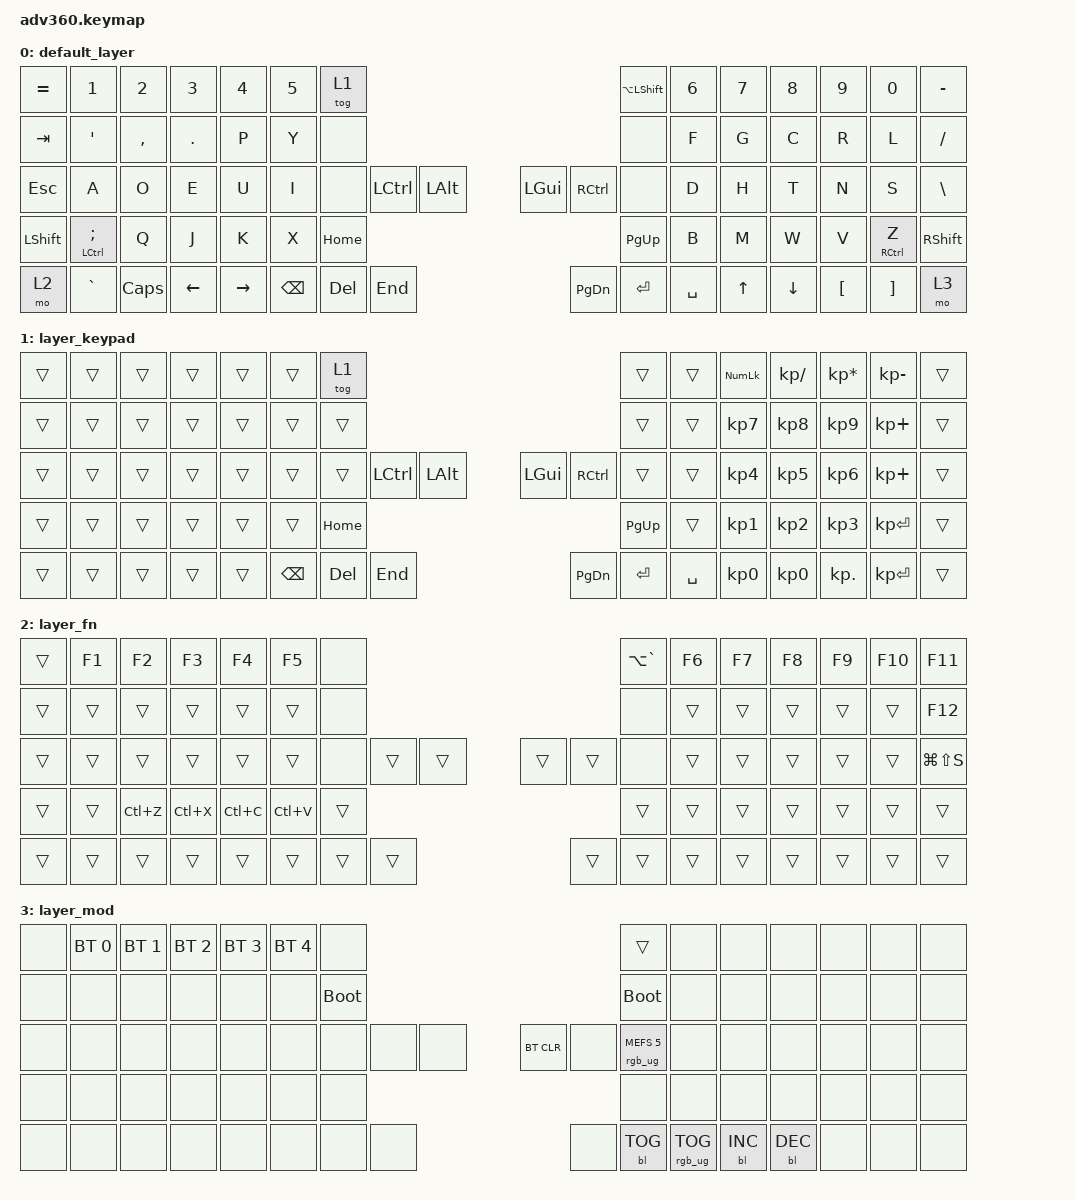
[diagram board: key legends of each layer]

/*
 * Copyright (c) 2020 The ZMK Contributors
 *
 * SPDX-License-Identifier: MIT
 */


/* THIS FILE WAS GENERATED!
 *
 * This file was generated automatically. You may or may not want to
 * edit it directly.
 */

#include <behaviors.dtsi>
#include <dt-bindings/zmk/keys.h>
#include <dt-bindings/zmk/bt.h>
#include <dt-bindings/zmk/rgb.h>
#include <dt-bindings/zmk/backlight.h>

/ {
  behaviors {
    #include "macros.dtsi"

    hm: homerow_mods {
        compatible = "zmk,behavior-hold-tap";
        label = "HOMEROW_MODS";
        #binding-cells = <2>;
        tapping-term-ms = <200>;
        quick_tap_ms = <175>;
        flavor = "tap-preferred";
        bindings = <&kp>, <&kp>;
    };
  };

    keymap {
        compatible = "zmk,keymap";


        default_layer {
            bindings = <
 &kp EQUAL               &kp N1     &kp N2      &kp N3     &kp N4  &kp N5              &tog 1                                                             &kp LA(LSHFT)  &kp N6  &kp N7    &kp N8    &kp N9       &kp N0  &kp MINUS
   &kp TAB             &kp APOS  &kp COMMA  &kp PERIOD      &kp P   &kp Y               &none                                                                     &none   &kp F   &kp G     &kp C     &kp R        &kp L   &kp FSLH
   &kp ESC                &kp A      &kp O       &kp E      &kp U   &kp I               &none  &kp LCTRL  &kp LALT                   &kp LGUI  &kp RCTRL          &none   &kp D   &kp H     &kp T     &kp N        &kp S   &kp BSLH
 &kp LSHFT  &mt LCTRL SEMICOLON      &kp Q       &kp J      &kp K   &kp X                                 &kp HOME                  &kp PG_UP                             &kp B   &kp M     &kp W     &kp V  &mt RCTRL Z  &kp RSHFT
     &mo 2            &kp GRAVE   &kp CAPS    &kp LEFT  &kp RIGHT                    &kp BSPC    &kp DEL   &kp END                  &kp PG_DN  &kp ENTER      &kp SPACE          &kp UP  &kp DOWN  &kp LBKT     &kp RBKT      &mo 3
            >;
        };

        layer_keypad {
            bindings = <
 &trans  &trans  &trans  &trans  &trans  &trans              &tog 1                                                                &trans  &trans  &kp KP_NUM  &kp KP_DIVIDE  &kp KP_MULTIPLY  &kp KP_MINUS  &trans
 &trans  &trans  &trans  &trans  &trans  &trans              &trans                                                                &trans  &trans   &kp KP_N7      &kp KP_N8        &kp KP_N9   &kp KP_PLUS  &trans
 &trans  &trans  &trans  &trans  &trans  &trans              &trans  &kp LCTRL  &kp LALT                   &kp LGUI  &kp RCTRL     &trans  &trans   &kp KP_N4      &kp KP_N5        &kp KP_N6   &kp KP_PLUS  &trans
 &trans  &trans  &trans  &trans  &trans  &trans                                 &kp HOME                  &kp PG_UP                        &trans   &kp KP_N1      &kp KP_N2        &kp KP_N3  &kp KP_ENTER  &trans
 &trans  &trans  &trans  &trans  &trans                    &kp BSPC    &kp DEL   &kp END                  &kp PG_DN  &kp ENTER  &kp SPACE           &kp KP_N0      &kp KP_N0       &kp KP_DOT  &kp KP_ENTER  &trans
            >;
        };

        layer_fn {
            bindings = <
 &trans  &kp F1     &kp F2     &kp F3     &kp F4     &kp F5             &none                                                  &kp LA(GRAVE)  &kp F6  &kp F7  &kp F8  &kp F9  &kp F10        &kp F11
 &trans  &trans     &trans     &trans     &trans     &trans             &none                                                          &none  &trans  &trans  &trans  &trans   &trans        &kp F12
 &trans  &trans     &trans     &trans     &trans     &trans             &none  &trans  &trans                  &trans  &trans          &none  &trans  &trans  &trans  &trans   &trans  &kp LG(LS(S))
 &trans  &trans  &kp LC(Z)  &kp LC(X)  &kp LC(C)  &kp LC(V)                            &trans                  &trans                         &trans  &trans  &trans  &trans   &trans         &trans
 &trans  &trans     &trans     &trans     &trans                       &trans  &trans  &trans                  &trans  &trans         &trans          &trans  &trans  &trans   &trans         &trans
            >;
        };

        layer_mod {
            bindings = <
  &none  &bt BT_SEL 0  &bt BT_SEL 1  &bt BT_SEL 2  &bt BT_SEL 3  &bt BT_SEL 4                  &none                                                                          &trans   &none       &none       &none   &none   &none   &none
  &none         &none         &none         &none         &none         &none            &bootloader                                                                     &bootloader   &none       &none       &none   &none   &none   &none
  &none         &none         &none         &none         &none         &none                  &none   &none   &none                  &bt BT_CLR       &none  &rgb_ug RGB_MEFS_CMD 5   &none       &none       &none   &none   &none   &none
  &none         &none         &none         &none         &none         &none                                  &none                       &none                                       &none       &none       &none   &none   &none   &none
  &none         &none         &none         &none         &none                                &none   &none   &none                       &none  &bl BL_TOG         &rgb_ug RGB_TOG          &bl BL_INC  &bl BL_DEC   &none   &none   &none
            >;
        };

    };
};
